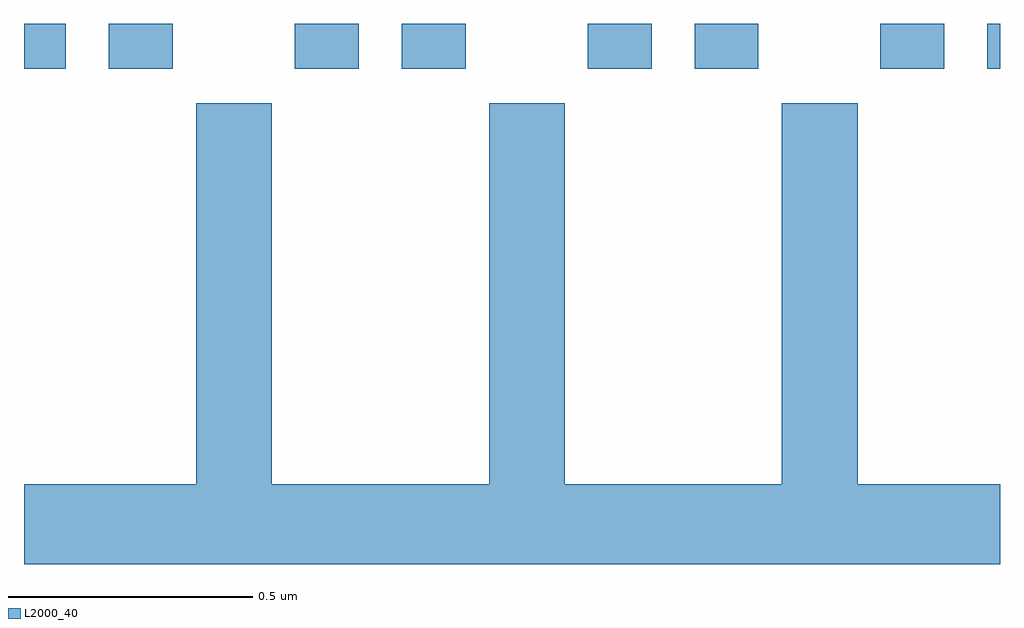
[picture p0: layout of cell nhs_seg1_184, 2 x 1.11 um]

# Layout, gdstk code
import gdstk
lib = gdstk.Library(unit=1e-6, precision=1e-09)
def R(c, l, rs):  # rectangles x0, y0, x1, y1
    for r in rs: c.add(gdstk.rectangle(r[:2], r[2:], *l))
def P(c, l, *ps):  # polygons
    for p in ps: c.add(gdstk.Polygon(p, *l))
L2000_40 = (2000, 40)

nhs_seg1_184 = lib.new_cell('nhs_seg1_184')
R(nhs_seg1_184, L2000_40, [(113,526.107,113.086,526.199), (113.174,526.107,113.305,526.199), (113.555,526.107,113.686,526.199), (113.774,526.107,113.905,526.199), (114.155,526.107,114.286,526.199), (114.374,526.107,114.505,526.199), (114.755,526.107,114.886,526.199), (114.974,526.107,115,526.199)])
P(nhs_seg1_184, L2000_40, [(115,525.256),(114.708,525.256),(114.708,526.036),(114.553,526.036),(114.553,525.256),(114.108,525.256),(114.108,526.036),(113.953,526.036),(113.953,525.256),(113.508,525.256),(113.508,526.036),(113.353,526.036),(113.353,525.256),(113,525.256),(113,525.092),(115,525.092)])

lib.write_gds('nhs_seg1_184.gds')
